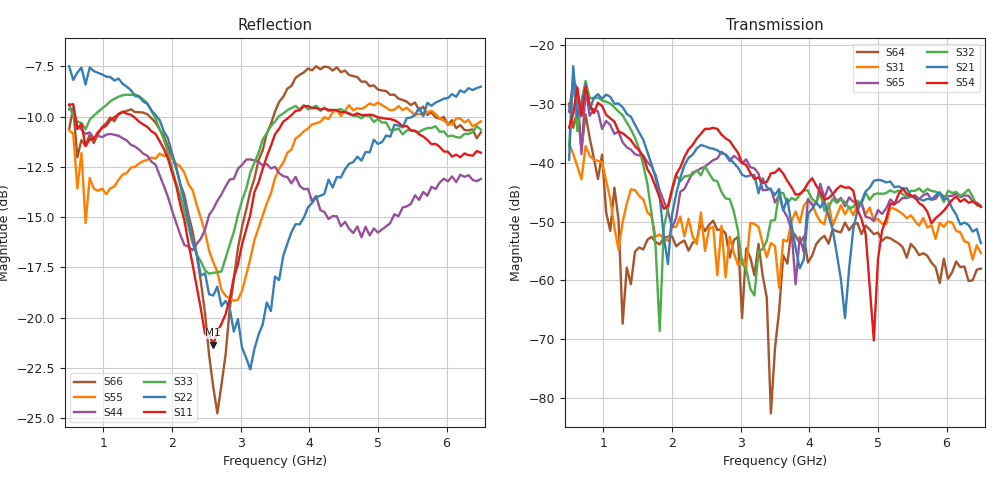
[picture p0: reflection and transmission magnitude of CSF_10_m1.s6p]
!Keysight Technologies,M9804A,MY58100912,A.14.10.03
!Date: Thursday, April 27, 2023 10:28:33
!Correction: S11(C  6-Port  )
!S12(C  6-Port  )
!S13(C  6-Port  )
!S14(C  6-Port  )
!S15(C  6-Port  )
!S16(C  6-Port  )
!S21(C  6-Port  )
!S22(C  6-Port  )
!S23(C  6-Port  )
!S24(C  6-Port  )
!S25(C  6-Port  )
!S26(C  6-Port  )
!S31(C  6-Port  )
!S32(C  6-Port  )
!S33(C  6-Port  )
!S34(C  6-Port  )
!S35(C  6-Port  )
!S36(C  6-Port  )
!S41(C  6-Port  )
!S42(C  6-Port  )
!S43(C  6-Port  )
!S44(C  6-Port  )
!S45(C  6-Port  )
!S46(C  6-Port  )
!S51(C  6-Port  )
!S52(C  6-Port  )
!S53(C  6-Port  )
!S54(C  6-Port  )
!S55(C  6-Port  )
!S56(C  6-Port  )
!S61(C  6-Port  )
!S62(C  6-Port  )
!S63(C  6-Port  )
!S64(C  6-Port  )
!S65(C  6-Port  )
!S66(C  6-Port  )
!S6P File: Measurement: :
# Hz S  RI  R 50
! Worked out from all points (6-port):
!   101 points, 500 MHz to 6.5 GHz, reference 50 ohm
!   strongest paths, dB at 500 MHz, 2 GHz, 3.5 GHz, 5 GHz, 6.5 GHz:
!     S54: -34.0, -44.4, -41.7, -56.5, -47.5
!     S21: -39.5, -48.8, -45.5, -42.9, -53.7
!     S32: -37.3, -44.8, -49.7, -45.2, -47.4
!     S65: -31.3, -51.0, -46.8, -48.0, -47.3
!     S31: -36.7, -50.9, -54.2, -49.6, -55.3
!     S64: -29.9, -52.5, -71.5, -51.9, -58.0
!   lowest |S11| = -21.3 dB at 2.6 GHz (marker M1), VSWR 1.19, Z = 42.4 + j2.21 ohm
!   |S11| at or under -10 dB: 589.7 MHz to 1.175 GHz (585.7 MHz wide, 66.4 % of centre); 1.435 GHz to 3.716 GHz (2.281 GHz wide, 88.6 % of centre); 4.975 GHz to end of sweep
